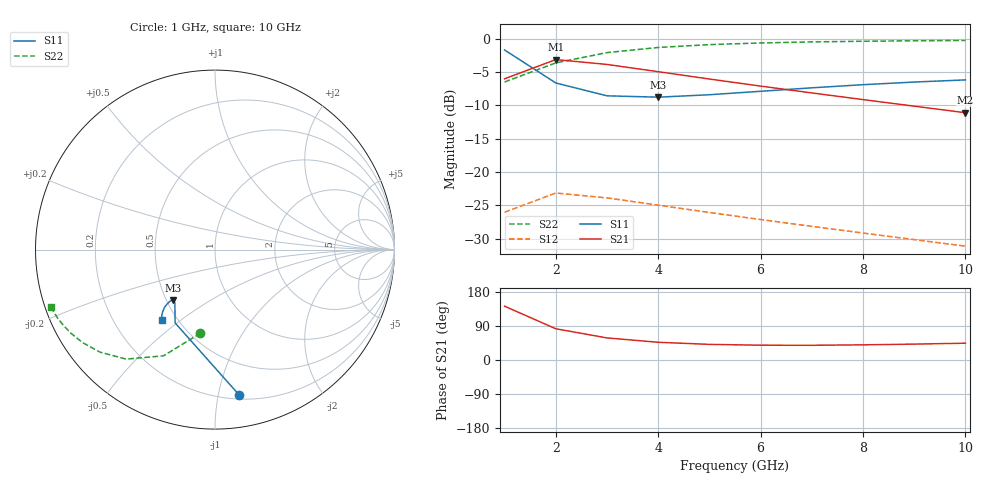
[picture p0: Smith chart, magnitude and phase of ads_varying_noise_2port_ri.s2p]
! Created Sat Aug 22 02:20:41 2026
# ghz S ri R 50
! 2 Port Network Data from SP1.SP block
! freq  reS11  imS11  reS21  imS21  reS12  imS12  reS22  imS22
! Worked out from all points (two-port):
!   10 points, 1 GHz to 10 GHz, reference 50 ohm
!   highest |S21| = -3.14 dB at 2 GHz (marker M1); lowest = -11.1 dB at 10 GHz (marker M2)
!   |S21| within 3 dB of the highest: start of sweep to 5.079 GHz
!   lowest |S11| = -8.8 dB at 4 GHz (marker M3), VSWR 2.15, Z = 27.1 - j17.5 ohm
!   |S11| at or under -10 dB: nowhere
!   |S22| runs from -6.5 to -0.3 dB; largest |S21 - S12| = 0.64
1  0.1354 -0.8107  -0.3939 0.3086  -0.0187 0.0464  -0.0818 -0.4665
2  -0.2222 -0.4088  0.0917 0.6907  0.0425 0.0552  -0.2873 -0.5919
3  -0.2237 -0.2981  0.3368 0.5449  0.0564 0.0303  -0.4949 -0.6102
4  -0.2325 -0.2803  0.387 0.412  0.0541 0.0163  -0.6412 -0.5711
5  -0.2492 -0.2866  0.3745 0.3283  0.0489 0.0097  -0.7377 -0.5184
6  -0.2667 -0.3022  0.3425 0.2776  0.0435 0.00691  -0.8018 -0.4671
7  -0.2813 -0.3225  0.3052 0.2459  0.0387 0.00603  -0.8455 -0.4214
8  -0.2914 -0.3451  0.2677 0.2245  0.0344 0.00606  -0.8762 -0.382
9  -0.2964 -0.3684  0.232 0.2084  0.0305 0.00645  -0.8984 -0.3481
10  -0.2964 -0.3908  0.1991 0.1947  0.027 0.00691  -0.915 -0.319
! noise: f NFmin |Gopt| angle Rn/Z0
1  6.747  0.8294  77.89  6.759
2  6.619  0.5515  115.9  1.183
3  6.509  0.4646  131.2  0.7476
4  6.418  0.4358  139.5  0.6164
5  6.349  0.4251  144.6  0.5542
6  6.302  0.4209  147.8  0.5204
7  6.277  0.4189  149.8  0.5028
8  6.277  0.4174  150.9  0.4967
9  6.299  0.4156  151.4  0.4997
10  6.343  0.4133  151.3  0.5104
